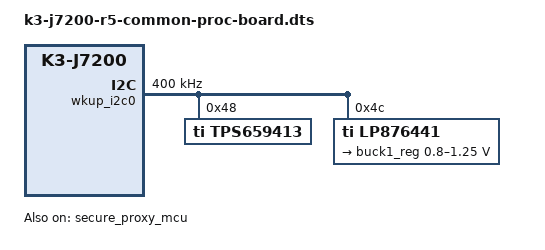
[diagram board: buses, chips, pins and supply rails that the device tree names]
// SPDX-License-Identifier: GPL-2.0
/*
 * Copyright (C) 2020-2023 Texas Instruments Incorporated - https://www.ti.com/
 */

/dts-v1/;

#include "k3-j7200-common-proc-board.dts"
#include "k3-j7200-ddr-evm-lp4-2666.dtsi"
#include "k3-j721e-ddr.dtsi"
#include "k3-j7200-common-proc-board-u-boot.dtsi"

/ {
	aliases {
		remoteproc0 = &sysctrler;
		remoteproc1 = &a72_0;
	};

	a72_0: a72@0 {
		compatible = "ti,am654-rproc";
		reg = <0x0 0x00a90000 0x0 0x10>;
		power-domains = <&k3_pds 61 TI_SCI_PD_EXCLUSIVE>,
				<&k3_pds 202 TI_SCI_PD_EXCLUSIVE>,
				<&k3_pds 4 TI_SCI_PD_EXCLUSIVE>;
		resets = <&k3_reset 202 0>;
		clocks = <&k3_clks 61 1>;
		assigned-clocks = <&k3_clks 202 2>, <&k3_clks 61 1>;
		assigned-clock-rates = <2000000000>, <200000000>;
		ti,sci = <&dmsc>;
		ti,sci-proc-id = <32>;
		ti,sci-host-id = <10>;
		bootph-pre-ram;
	};

	dm_tifs: dm-tifs {
		compatible = "ti,j721e-dm-sci";
		ti,host-id = <3>;
		ti,secure-host;
		mbox-names = "rx", "tx";
		mboxes = <&secure_proxy_mcu 21>,
			<&secure_proxy_mcu 23>;
		bootph-pre-ram;
	};
};

&memorycontroller {
	power-domains = <&k3_pds 8 TI_SCI_PD_SHARED>,
			<&k3_pds 90 TI_SCI_PD_SHARED>;
	clocks = <&k3_clks 8 5>, <&k3_clks 30 9>;
	bootph-pre-ram;
};

&mcu_timer0 {
	clock-frequency = <25000000>;
	bootph-pre-ram;
};

&secure_proxy_mcu {
	bootph-pre-ram;
	status = "okay";
};

&cbass_mcu_wakeup {
	sysctrler: sysctrler {
		compatible = "ti,am654-system-controller";
		mboxes= <&secure_proxy_mcu 4>,
			<&secure_proxy_mcu 5>;
		mbox-names = "tx", "rx";
		bootph-pre-ram;
	};
};

&dmsc {
	mboxes = <&secure_proxy_mcu 8>,
		<&secure_proxy_mcu 6>, <&secure_proxy_mcu 5>;
	mbox-names = "tx", "rx", "notify";
	ti,host-id = <4>;
	ti,secure-host;
	bootph-pre-ram;
};

&wkup_vtm0 {
	bootph-pre-ram;
};

&wkup_i2c0 {
	bootph-pre-ram;
	pinctrl-names = "default";
	pinctrl-0 = <&wkup_i2c0_pins_default>;
	clock-frequency = <400000>;

	tps659413: tps659413@48 {
		compatible = "ti,tps659413";
		reg = <0x48>;
		bootph-pre-ram;

		regulators_a: regulators {
			bootph-pre-ram;
		};
	};

	lp876441: lp876441@4c {
		compatible = "ti,lp876441";
		reg = <0x4c>;
		bootph-pre-ram;

		regulators: regulators {
			bootph-pre-ram;
			buck1_reg: buck1 {
				/*VDD_CPU_AVS_REG*/
				regulator-name = "buck1";
				regulator-min-microvolt = <800000>;
				regulator-max-microvolt = <1250000>;
				regulator-always-on;
				regulator-boot-on;
				bootph-pre-ram;
			};
		};
	};

};
